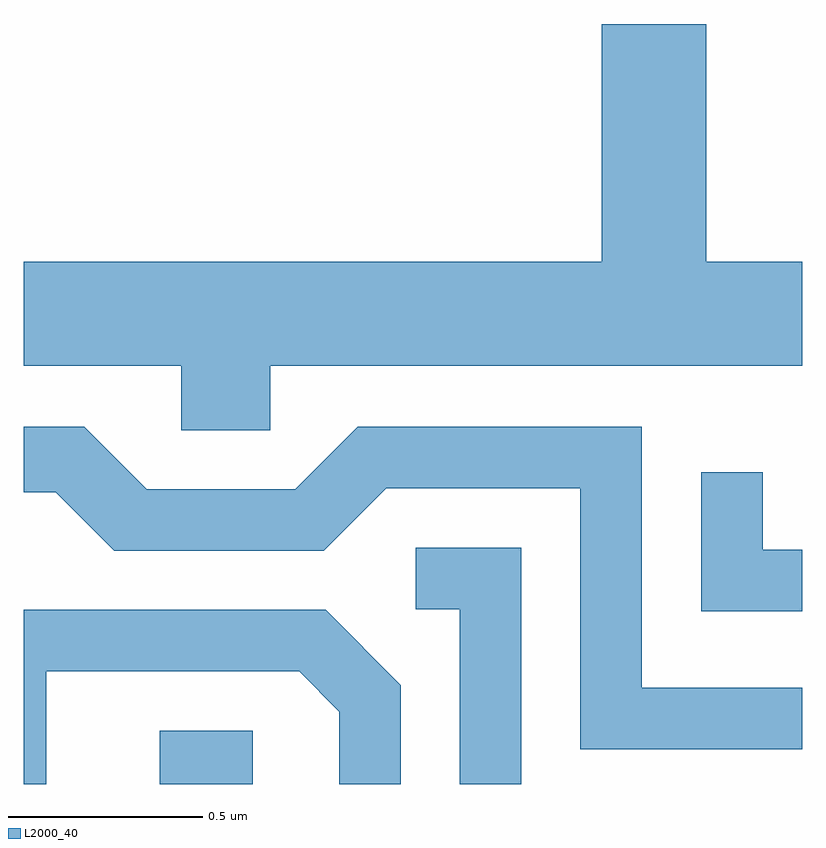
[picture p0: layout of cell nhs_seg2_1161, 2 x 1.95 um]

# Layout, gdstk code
import gdstk
lib = gdstk.Library(unit=1e-6, precision=1e-09)
def R(c, l, rs):  # rectangles x0, y0, x1, y1
    for r in rs: c.add(gdstk.rectangle(r[:2], r[2:], *l))
def P(c, l, *ps):  # polygons
    for p in ps: c.add(gdstk.Polygon(p, *l))
L2000_40 = (2000, 40)

nhs_seg2_1161 = lib.new_cell('nhs_seg2_1161')
R(nhs_seg2_1161, L2000_40, [(193.961,1042.802,194.199,1042.939)])
P(nhs_seg2_1161, L2000_40, [(194.244,1043.876),(195.611,1043.876),(195.611,1044.144),(195.364,1044.144),(195.364,1044.754),(195.096,1044.754),(195.096,1044.144),(193.611,1044.144),(193.611,1043.876),(194.016,1043.876),(194.016,1043.711),(194.244,1043.711)],
  [(195.611,1043.049),(195.199,1043.049),(195.199,1043.719),(194.469,1043.719),(194.309,1043.559),(193.927,1043.559),(193.767,1043.719),(193.611,1043.719),(193.611,1043.551),(193.694,1043.551),(193.844,1043.401),(194.382,1043.401),(194.542,1043.561),(195.041,1043.561),(195.041,1042.891),(195.611,1042.891)],
  [(195.611,1043.404),(195.509,1043.404),(195.509,1043.603),(195.351,1043.603),(195.351,1043.246),(195.611,1043.246)],
  [(194.889,1043.409),(194.618,1043.409),(194.618,1043.251),(194.731,1043.251),(194.731,1042.802),(194.889,1042.802)],
  [(193.669,1043.091),(194.319,1043.091),(194.421,1042.988),(194.421,1042.802),(194.579,1042.802),(194.579,1043.056),(194.387,1043.249),(193.611,1043.249),(193.611,1042.802),(193.669,1042.802)])

lib.write_gds('nhs_seg2_1161.gds')
